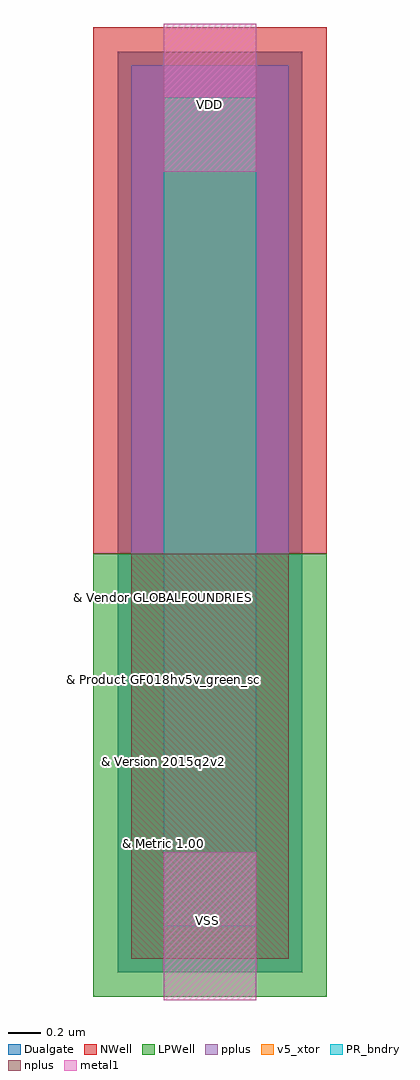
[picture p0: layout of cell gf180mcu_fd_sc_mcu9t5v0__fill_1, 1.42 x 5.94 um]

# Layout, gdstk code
import gdstk
lib = gdstk.Library(unit=1e-6, precision=1e-09)
def R(c, l, rs):  # rectangles x0, y0, x1, y1
    for r in rs: c.add(gdstk.rectangle(r[:2], r[2:], *l))
PR_bndry = (0, 0)
NWell = (21, 0)
pplus = (31, 0)
nplus = (32, 0)
metal1 = (34, 0)
Dualgate = (55, 0)
v5_xtor = (112, 1)
LPWell = (204, 0)

gf180mcu_fd_sc_mcu9t5v0_ = lib.new_cell('gf180mcu_fd_sc_mcu9t5v0__fill_1')
R(gf180mcu_fd_sc_mcu9t5v0_, PR_bndry, [(0,0,0.56,5.04)])
R(gf180mcu_fd_sc_mcu9t5v0_, NWell, [(-0.43,2.265,0.99,5.47)])
R(gf180mcu_fd_sc_mcu9t5v0_, pplus, [(-0.2,2.265,0.76,5.24)])
R(gf180mcu_fd_sc_mcu9t5v0_, nplus, [(-0.2,-0.2,0.76,2.265)])
R(gf180mcu_fd_sc_mcu9t5v0_, metal1, [(0,-0.45,0.56,0.45), (0,4.59,0.56,5.49)])
R(gf180mcu_fd_sc_mcu9t5v0_, Dualgate, [(-0.28,-0.28,0.84,5.32)])
R(gf180mcu_fd_sc_mcu9t5v0_, v5_xtor, [(0,0,0.56,5.04)])
R(gf180mcu_fd_sc_mcu9t5v0_, LPWell, [(-0.43,-0.43,0.99,2.265)])
gf180mcu_fd_sc_mcu9t5v0_.add(gdstk.Label('VDD', (0.275,5), layer=34, texttype=10))
gf180mcu_fd_sc_mcu9t5v0_.add(gdstk.Label('VSS', (0.265,0.035), layer=34, texttype=10))
gf180mcu_fd_sc_mcu9t5v0_.add(gdstk.Label('& Vendor GLOBALFOUNDRIES', (0,2), layer=63, texttype=63))
gf180mcu_fd_sc_mcu9t5v0_.add(gdstk.Label('& Product GF018hv5v_green_sc9', (0,1.5), layer=63, texttype=63))
gf180mcu_fd_sc_mcu9t5v0_.add(gdstk.Label('& Version 2015q2v2', (0,1), layer=63, texttype=63))
gf180mcu_fd_sc_mcu9t5v0_.add(gdstk.Label('& Metric 1.00', (0,0.5), layer=63, texttype=63))

lib.write_gds('gf180mcu_fd_sc_mcu9t5v0__fill_1.gds')
